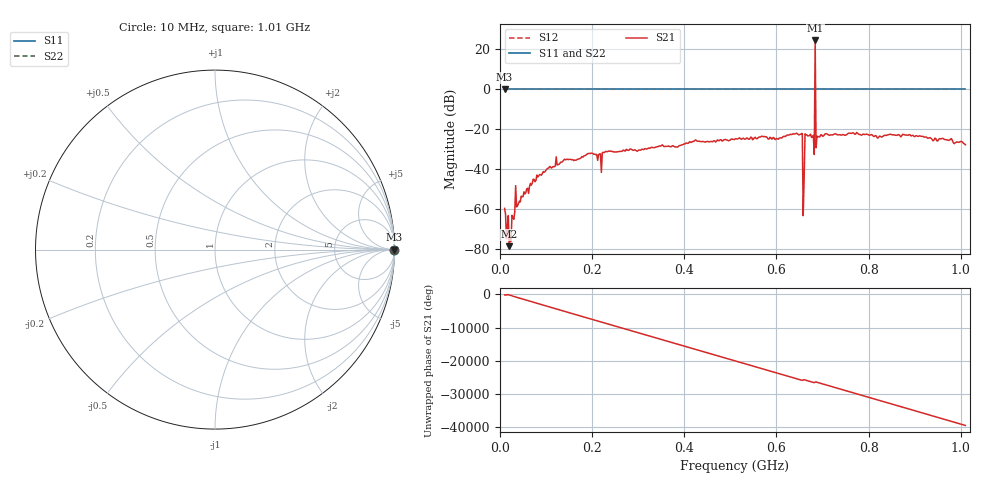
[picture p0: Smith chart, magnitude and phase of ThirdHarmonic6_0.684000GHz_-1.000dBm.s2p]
! 8/15/2025 10:49:49 PM
! C:\ANRITSUVNA\TEMP\TEMP.S2P
! CHANNEL.1
! TR.MEASUREMENT
! RAW.DATA
! RF.CORRECTION.OFF
! AVERAGING.OFF
! IF.BANDWIDTH: 5KHZ
! SWEEPTYPE:  FREQ.SWEEP(Linear)
! Reference Plane Port Info
! PORT:  PORT1  PORT2
! DISTANCE:  0  m  0  m
! TIME:  0  s  0  s
! PHASE.OFFSET:  0  deg.  0  deg.
! LOSS:  0  dB  0  dB
! REF.LOSS:  0  dB  0  dB
! REF.FREQ:  0  Hz  0  Hz
! Power Info
! POWER:  -20  dBm  -20  dBm
! EFF.POWER:  -20  dBm  -20  dBm
! SOURCE.ATTEN:  0  dB  0  dB
! TEST.ATTEN:  0  dB  0  dB
# GHZ S RI R 50.0
! FREQ.GHZ  S11RE  S11IM  S21RE  S21IM  S12RE  S12IM  S22RE  S22IM
!; PortSelection: Port_12
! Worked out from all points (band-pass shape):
!   501 points, 10 MHz to 1.01 GHz, reference 50 ohm
!   highest |S21| = 24.42 dB at 684 MHz (marker M1); lowest = -78.6 dB at 20 MHz (marker M2)
!   |S21| within 3 dB of the highest: 683.8949 MHz to 684.1116 MHz (216.6 kHz wide, 0.0317 % of centre)
!   lowest |S11| = 0.0 dB at 10 MHz (marker M3)
!   |S11| at or under -10 dB: nowhere
!   |S22| runs from 0.0 to 0.0 dB; largest |S21 - S12| = 18
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0.01  1 0  -0.00103 -0.000141  1 0  1 0
0.02  1 0  -0.000115 -2.15e-05  1 0  1 0
0.024  1 0  0.000147 5.16e-05  1 0  1 0
0.03  1 0  0.000159 0.000529  1 0  1 0
0.038  1 0  -0.000474 0.0011  1 0  1 0
0.04  1 0  0.00122 0.000619  1 0  1 0
0.076  1 0  0.0048 4.7e-06  1 0  1 0
0.126  1 0  -0.00818 0.00995  1 0  1 0
0.178  1 0  -0.0206 -0.00141  1 0  1 0
0.344  1 0  0.0334 -0.0157  1 0  1 0
0.51  1 0  -0.035 0.0444  1 0  1 0
0.652  1 0  -0.0701 0.025  1 0  1 0
0.656  1 0  0.0777 -0.00523  1 0  1 0
0.662  1 0  -0.0313 0.0695  1 0  1 0
0.666  1 0  0.0444 -0.0567  1 0  1 0
0.678  1 0  -0.0633 -0.0119  1 0  1 0
0.68  1 0  -0.0254 0.0646  1 0  1 0
0.684  1 0  -16.56 -1.492  1 0  1 0
0.688  1 0  -0.052 0.0415  1 0  1 0
0.69  1 0  0.029 0.0567  1 0  1 0
0.844  1 0  0.0617 -0.0392  1 0  1 0
1.01  1 0  -0.00402 0.0405  1 0  1 0
